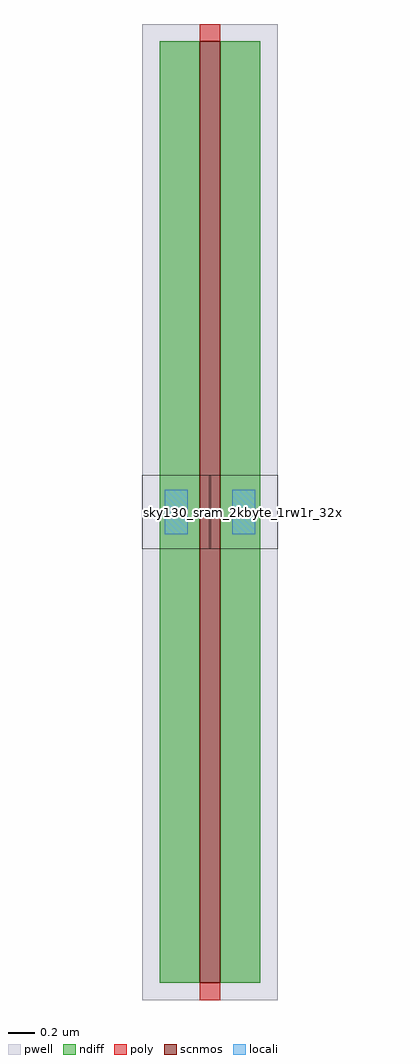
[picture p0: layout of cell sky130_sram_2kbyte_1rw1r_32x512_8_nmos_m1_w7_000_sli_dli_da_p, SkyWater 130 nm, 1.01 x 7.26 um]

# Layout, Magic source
magic
tech sky130A
magscale 1 2
<< pwell >>
rect -26 -26 176 1426
<< scnmos >>
rect 60 0 90 1400
<< ndiff >>
rect 0 0 60 1400
rect 90 0 150 1400
<< poly >>
rect 60 1400 90 1426
rect 60 -26 90 0
<< locali >>
rect 8 667 42 733
rect 108 667 142 733
use sky130_sram_2kbyte_1rw1r_32x512_8_contact_11  sky130_sram_2kbyte_1rw1r_32x512_8_contact_11_0
transform 1 0 100 0 1 667
box -26 -22 76 88
use sky130_sram_2kbyte_1rw1r_32x512_8_contact_11  sky130_sram_2kbyte_1rw1r_32x512_8_contact_11_1
transform 1 0 0 0 1 667
box -26 -22 76 88
<< labels >>
rlabel locali s 25 700 25 700 4 S
rlabel locali s 125 700 125 700 4 D
rlabel poly s 75 700 75 700 4 G
<< properties >>
string FIXED_BBOX -25 -26 175 1426
<< end >>
